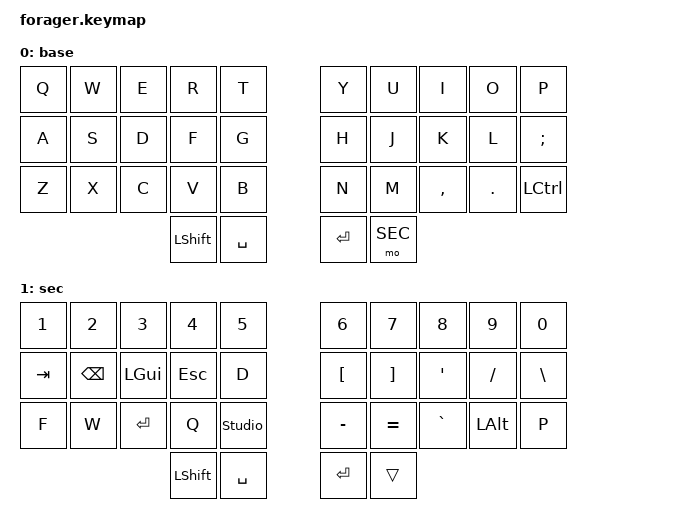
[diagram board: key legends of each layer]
#include <behaviors.dtsi>
#include <dt-bindings/zmk/keys.h>
#include <dt-bindings/zmk/outputs.h>

#define BASE 0
#define SEC  1

/ {
    keymap {
        compatible = "zmk,keymap";

        base {
            bindings = <
            &kp Q           &kp W           &kp E           &kp R           &kp T                                           &kp Y           &kp U           &kp I           &kp O           &kp P
            &kp A           &kp S           &kp D           &kp F           &kp G                                           &kp H           &kp J           &kp K           &kp L           &kp SEMI
            &kp Z           &kp X           &kp C           &kp V           &kp B                                           &kp N           &kp M           &kp COMMA       &kp DOT         &kp LCTRL
                                                                            &kp LSHFT       &kp SPACE       &kp RET         &mo SEC
            >;
        };

        sec {
            bindings = <
            &kp N1          &kp N2          &kp N3          &kp N4          &kp N5                                          &kp N6          &kp N7          &kp N8          &kp N9          &kp N0
            &kp TAB         &kp BSPC        &kp LGUI        &kp ESC         &kp D                                           &kp LBKT        &kp RBKT        &kp SQT         &kp FSLH        &kp BSLH
            &kp F           &kp W           &kp RET         &kp Q           &studio_unlock                                  &kp MINUS       &kp EQUAL       &kp GRAVE       &kp LALT        &kp P
                                                                            &kp LSHFT       &kp SPACE       &kp RET         &trans
            >;
        };
    };
};
